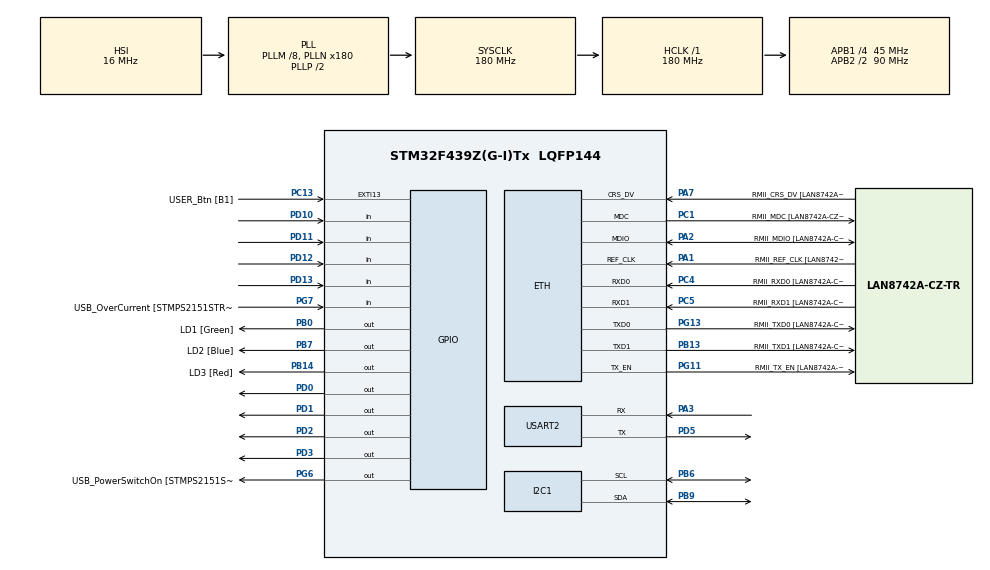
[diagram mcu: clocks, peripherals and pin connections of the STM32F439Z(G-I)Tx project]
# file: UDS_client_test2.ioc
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ETH.MACAddr=00\:80\:E1\:00\:00\:10
ETH.MediaInterface=ETH_MEDIA_INTERFACE_RMII
ETH.PhyAddress=0
ETH.RxMode=ETH_RXINTERRUPT_MODE
FREERTOS.Mutexes01=targetsMutex,Dynamic,NULL
FREERTOS.Tasks01=UdsTask,24,128,StartUdsTask,Default,NULL,Dynamic,NULL,NULL;UartTask,25,128,StartUartTask,Default,NULL,Dynamic,NULL,NULL;InstallTask,25,128,StartInstallTask,Default,NULL,Dynamic,NULL,NULL;InitTask,26,128,StartInitTask,Default,NULL,Dynamic,NULL,NULL;RefreshWDGTask,25,128,StartRefreshWDGTask,Default,NULL,Dynamic,NULL,NULL
FREERTOS.configUSE_NEWLIB_REENTRANT=1
HASH.KeySize=17
HASH.SecureHashAlgorithmType=HMAC SHA256
HASH.pKey=00 01 02 03 04 05 06 07 08 09 0A 0B 0C 0D 0E 0F 10
HASH.pKeyInput=000102030405060708090A0B0C0D0E0F10
IWDG.Prescaler=IWDG_PRESCALER_64
IWDG.Reload=3000
LWIP.GATEWAY_ADDRESS=169.254.084.058
LWIP.IP_ADDRESS=169.254.084.058
LWIP.LWIP_DHCP=0
LWIP.MEMP_NUM_RAW_PCB=4
LWIP.MEMP_NUM_TCP_PCB_LISTEN=8
LWIP.MEMP_NUM_TCP_SEG=100
LWIP.MEM_SIZE=21*1024
LWIP.NETMASK_ADDRESS=255.255.000.000
LWIP.PBUF_POOL_BUFSIZE=1500
LWIP.PBUF_POOL_SIZE=20
LWIP.TCP_MSS=1426
LWIP.TCP_SND_BUF=11408
LWIP.TCP_SND_QUEUELEN=100
LWIP.TCP_WND=11408
LWIP.Version=v2.1.2_Cube
Mcu.Family=STM32F4
Mcu.Name=STM32F439Z(G-I)Tx
Mcu.Package=LQFP144
NVIC.ETH_IRQn=true\:5\:0\:false\:false\:true\:true\:false\:true
NVIC.PriorityGroup=NVIC_PRIORITYGROUP_4
NVIC.TIM1_UP_TIM10_IRQn=true\:15\:0\:false\:false\:true\:false\:false\:true
NVIC.TimeBase=TIM1_UP_TIM10_IRQn
NVIC.TimeBaseIP=TIM1
NVIC.USART2_IRQn=true\:5\:0\:false\:false\:true\:true\:true\:true
PA1.GPIO_Label=RMII_REF_CLK [LAN8742A-CZ-TR_REFCLK0]
PA1.Mode=RMII
PA1.Signal=ETH_REF_CLK
PA10.GPIO_Label=USB_ID
PA10.Signal=USB_OTG_FS_ID
PA11.GPIO_Label=USB_DM
PA11.Signal=USB_OTG_FS_DM
PA12.GPIO_Label=USB_DP
PA12.Signal=USB_OTG_FS_DP
PA13.GPIO_Label=TMS
PA13.Signal=SYS_JTMS-SWDIO
PA14.GPIO_Label=TCK
PA14.Signal=SYS_JTCK-SWCLK
PA2.GPIO_Label=RMII_MDIO [LAN8742A-CZ-TR_MDIO]
PA2.Mode=RMII
PA2.Signal=ETH_MDIO
PA3.Mode=Asynchronous
PA3.Signal=USART2_RX
PA7.GPIO_Label=RMII_CRS_DV [LAN8742A-CZ-TR_CRS_DV]
PA7.Mode=RMII
PA7.Signal=ETH_CRS_DV
PA8.GPIO_Label=USB_SOF [TP1]
PA8.Signal=USB_OTG_FS_SOF
PA9.GPIO_Label=USB_VBUS
PA9.Signal=USB_OTG_FS_VBUS
PB0.GPIO_Label=LD1 [Green]
PB0.Signal=GPIO_Output
PB13.GPIO_Label=RMII_TXD1 [LAN8742A-CZ-TR_TXD1]
PB13.Mode=RMII
PB13.Signal=ETH_TXD1
PB14.GPIO_Label=LD3 [Red]
PB14.Signal=GPIO_Output
PB6.Mode=I2C
PB6.Signal=I2C1_SCL
PB7.GPIO_Label=LD2 [Blue]
PB7.Signal=GPIO_Output
PB9.Mode=I2C
PB9.Signal=I2C1_SDA
PC1.GPIO_Label=RMII_MDC [LAN8742A-CZ-TR_MDC]
PC1.Mode=RMII
PC1.Signal=ETH_MDC
PC13.GPIO_Label=USER_Btn [B1]
PC13.Signal=GPXTI13
PC14/OSC32_IN.Signal=RCC_OSC32_IN
PC15/OSC32_OUT.Signal=RCC_OSC32_OUT
PC4.GPIO_Label=RMII_RXD0 [LAN8742A-CZ-TR_RXD0]
PC4.Mode=RMII
PC4.Signal=ETH_RXD0
PC5.GPIO_Label=RMII_RXD1 [LAN8742A-CZ-TR_RXD1]
PC5.Mode=RMII
PC5.Signal=ETH_RXD1
PD0.Signal=GPIO_Output
PD1.Signal=GPIO_Output
PD10.GPIO_PuPd=GPIO_PULLDOWN
PD10.Signal=GPIO_Input
PD11.GPIO_PuPd=GPIO_PULLDOWN
PD11.Signal=GPIO_Input
PD12.GPIO_PuPd=GPIO_PULLDOWN
PD12.Signal=GPIO_Input
PD13.GPIO_PuPd=GPIO_PULLDOWN
PD13.Signal=GPIO_Input
PD2.Signal=GPIO_Output
PD3.Signal=GPIO_Output
PD5.Mode=Asynchronous
PD5.Signal=USART2_TX
PD8.GPIO_Label=STLK_RX [STM32F103CBT6_PA3]
PD8.Signal=USART3_TX
PD9.GPIO_Label=STLK_TX [STM32F103CBT6_PA2]
PD9.Signal=USART3_RX
PG11.GPIO_Label=RMII_TX_EN [LAN8742A-CZ-TR_TXEN]
PG11.Mode=RMII
PG11.Signal=ETH_TX_EN
PG13.GPIO_Label=RMII_TXD0 [LAN8742A-CZ-TR_TXD0]
PG13.Mode=RMII
PG13.Signal=ETH_TXD0
PG6.GPIO_Label=USB_PowerSwitchOn [STMPS2151STR_EN]
PG6.Signal=GPIO_Output
PG7.GPIO_Label=USB_OverCurrent [STMPS2151STR_FAULT]
PG7.Signal=GPIO_Input
PH0/OSC_IN.GPIO_Label=MCO [STM32F103CBT6_PA8]
PH0/OSC_IN.Mode=HSE-External-Oscillator
PH0/OSC_IN.Signal=RCC_OSC_IN
PH1/OSC_OUT.Mode=HSE-External-Oscillator
PH1/OSC_OUT.Signal=RCC_OSC_OUT
ProjectManager.HeapSize=0x200
ProjectManager.StackSize=0x400
ProjectManager.TargetToolchain=STM32CubeIDE
RCC.48MHZClocksFreq_Value=90000000
RCC.AHBFreq_Value=180000000
RCC.APB1CLKDivider=RCC_HCLK_DIV4
RCC.APB1Freq_Value=45000000
RCC.APB1TimFreq_Value=90000000
RCC.APB2CLKDivider=RCC_HCLK_DIV2
RCC.APB2Freq_Value=90000000
RCC.APB2TimFreq_Value=180000000
RCC.CortexFreq_Value=180000000
RCC.HCLKFreq_Value=180000000
RCC.HSE_VALUE=8000000
RCC.HSI_VALUE=16000000
RCC.LSE_VALUE=32768
RCC.PLLM=8
RCC.PLLMUL=RCC_PLL_MUL9
RCC.PLLN=180
RCC.PRESCALERUSB=RCC_USBCLKSOURCE_PLL_DIV1_5
RCC.SYSCLKFreq_VALUE=180000000
RCC.SYSCLKSource=RCC_SYSCLKSOURCE_PLLCLK
RCC.SYSCLKSourceVirtual=RCC_SYSCLKSOURCE_PLLCLK
RCC.USBFreq_Value=48000000
RCC.VCOOutputFreq_Value=360000000
USART2.VirtualMode=VM_ASYNC
VP_FREERTOS_VS_CMSIS_V2.Mode=CMSIS_V2
VP_HASH_VS_HASH.Mode=HASH_Activate
VP_IWDG_VS_IWDG.Mode=IWDG_Activate
VP_LWIP_VS_Enabled.Mode=Enabled
VP_RTC_VS_RTC_Activate.Mode=RTC_Enabled
VP_SYS_VS_tim1.Mode=TIM1
board=NUCLEO-F439ZI

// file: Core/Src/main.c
/* USER CODE BEGIN Header */
/**
  ******************************************************************************
  * @file           : main.c
  * @brief          : Main program body
  ******************************************************************************
  * @attention
  *
  * <h2><center>&copy; Copyright (c) 2023 STMicroelectronics.
  * All rights reserved.</center></h2>
  *
  * This software component is licensed by ST under BSD 3-Clause license,
  * the "License"; You may not use this file except in compliance with the
  * License. You may obtain a copy of the License at:
  *                        opensource.org/licenses/BSD-3-Clause
  *
  ******************************************************************************
  */
/* USER CODE END Header */
#include "main.h"
#include "cmsis_os.h"
#include "hash.h"
#include "i2c.h"
#include "iwdg.h"
#include "lwip.h"
#include "rtc.h"
#include "usart.h"
#include "gpio.h"

/* USER CODE BEGIN Includes */
#include "lcd.h"
#include "KEYPAD.h"
#include "flash_memory.h"
/* USER CODE END Includes */

/* USER CODE BEGIN PV */
extern uint8_t current_version_number[3];
/* USER CODE END PV */

void SystemClock_Config(void);
void MX_FREERTOS_Init(void);

/* USER CODE BEGIN 0 */
/*void HAL_UART_RxCpltCallback(UART_HandleTypeDef *huart){
	sys_sem_signal(&uartSem);
}*/
/* USER CODE END 0 */

int main(void)
{
  /* USER CODE BEGIN 1 */
  __enable_irq();
  /* USER CODE END 1 */

  /* MCU Configuration--------------------------------------------------------*/

  /* Reset of all peripherals, Initializes the Flash interface and the Systick. */
  HAL_Init();

  /* Configure the system clock */
  SystemClock_Config();

  /* Initialize all configured peripherals */
  MX_GPIO_Init();
  MX_HASH_Init();
  MX_USART2_UART_Init();
  MX_I2C1_Init();
  MX_IWDG_Init();
  MX_RTC_Init();
  /* USER CODE BEGIN 2 */
  /* init code for LWIP */
  MX_LWIP_Init();
  /* refresh watchdog */
  HAL_IWDG_Refresh(&hiwdg);
  /* get current version number from metadata flashed in the memory*/
  get_version_number(current_version_number);
  /* init lcd and keypad */
  lcd_init();
  lcd_backlight(1);
  H_KeyPad_void_KeyPadInit();
  lcd_write_string_up("Welcome Sir");
  /* USER CODE END 2 */

  /* Init scheduler */
  osKernelInitialize();  /* Call init function for freertos objects (in freertos.c) */
  MX_FREERTOS_Init();
  /* Start scheduler */
  osKernelStart();

  /* We should never get here as control is now taken by the scheduler */
  /* Infinite loop */
  while (1)
  {

  }
}

void SystemClock_Config(void)
{
  RCC_OscInitTypeDef RCC_OscInitStruct = {0};
  RCC_ClkInitTypeDef RCC_ClkInitStruct = {0};

  /** Configure the main internal regulator output voltage
  */
  __HAL_RCC_PWR_CLK_ENABLE();
  __HAL_PWR_VOLTAGESCALING_CONFIG(PWR_REGULATOR_VOLTAGE_SCALE1);
  /** Initializes the RCC Oscillators according to the specified parameters
  * in the RCC_OscInitTypeDef structure.
  */
  RCC_OscInitStruct.OscillatorType = RCC_OSCILLATORTYPE_HSI|RCC_OSCILLATORTYPE_LSI;
  RCC_OscInitStruct.HSIState = RCC_HSI_ON;
  RCC_OscInitStruct.HSICalibrationValue = RCC_HSICALIBRATION_DEFAULT;
  RCC_OscInitStruct.LSIState = RCC_LSI_ON;
  RCC_OscInitStruct.PLL.PLLState = RCC_PLL_ON;
  RCC_OscInitStruct.PLL.PLLSource = RCC_PLLSOURCE_HSI;
  RCC_OscInitStruct.PLL.PLLM = 8;
  RCC_OscInitStruct.PLL.PLLN = 180;
  RCC_OscInitStruct.PLL.PLLP = RCC_PLLP_DIV2;
  RCC_OscInitStruct.PLL.PLLQ = 4;
  if (HAL_RCC_OscConfig(&RCC_OscInitStruct) != HAL_OK)
  {
    Error_Handler();
  }
  /** Activate the Over-Drive mode
  */
  if (HAL_PWREx_EnableOverDrive() != HAL_OK)
  {
    Error_Handler();
  }
  /** Initializes the CPU, AHB and APB buses clocks
  */
  RCC_ClkInitStruct.ClockType = RCC_CLOCKTYPE_HCLK|RCC_CLOCKTYPE_SYSCLK
                              |RCC_CLOCKTYPE_PCLK1|RCC_CLOCKTYPE_PCLK2;
  RCC_ClkInitStruct.SYSCLKSource = RCC_SYSCLKSOURCE_PLLCLK;
  RCC_ClkInitStruct.AHBCLKDivider = RCC_SYSCLK_DIV1;
  RCC_ClkInitStruct.APB1CLKDivider = RCC_HCLK_DIV4;
  RCC_ClkInitStruct.APB2CLKDivider = RCC_HCLK_DIV2;

  if (HAL_RCC_ClockConfig(&RCC_ClkInitStruct, FLASH_LATENCY_5) != HAL_OK)
  {
    Error_Handler();
  }
}

void HAL_TIM_PeriodElapsedCallback(TIM_HandleTypeDef *htim)
{
  if (htim->Instance == TIM1) {
    HAL_IncTick();
  }
}

void Error_Handler(void)
{
}

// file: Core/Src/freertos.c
/* USER CODE BEGIN Header */
/**
 ******************************************************************************
 * File Name          : freertos.c
 * Description        : Code for freertos applications
 ******************************************************************************
 * @attention
 *
 * Copyright (c) 2023 STMicroelectronics.
 * All rights reserved.
 *
 * This software is licensed under terms that can be found in the LICENSE file
 * in the root directory of this software component.
 * If no LICENSE file comes with this software, it is provided AS-IS.
 *
 ******************************************************************************
 */
/* USER CODE END Header */

#include "FreeRTOS.h"
#include "task.h"
#include "main.h"
#include "cmsis_os.h"

/* USER CODE BEGIN Includes */
#include "NodeMCU_COM.h"
#include "usart.h"
#include "uds_client.h"
#include "bootloader.h"
#include "rtc.h"
#include "iwdg.h"
/* USER CODE END Includes */

/* USER CODE BEGIN Variables */
uint8_t installationReadyFlag = 0;
/* USER CODE END Variables */
/* Definitions for UdsTask */
osThreadId_t UdsTaskHandle;
const osThreadAttr_t UdsTask_attributes = {
  .name = "UdsTask",
  .stack_size = 128 * 4,
  .priority = (osPriority_t) osPriorityNormal,
};
/* Definitions for UartTask */
osThreadId_t UartTaskHandle;
const osThreadAttr_t UartTask_attributes = {
  .name = "UartTask",
  .stack_size = 128 * 4,
  .priority = (osPriority_t) osPriorityNormal1,
};
/* Definitions for InstallTask */
osThreadId_t InstallTaskHandle;
const osThreadAttr_t InstallTask_attributes = {
  .name = "InstallTask",
  .stack_size = 128 * 4,
  .priority = (osPriority_t) osPriorityNormal1,
};
/* Definitions for InitTask */
osThreadId_t InitTaskHandle;
const osThreadAttr_t InitTask_attributes = {
  .name = "InitTask",
  .stack_size = 128 * 4,
  .priority = (osPriority_t) osPriorityNormal2,
};
/* Definitions for RefreshWDGTask */
osThreadId_t RefreshWDGTaskHandle;
const osThreadAttr_t RefreshWDGTask_attributes = {
  .name = "RefreshWDGTask",
  .stack_size = 128 * 4,
  .priority = (osPriority_t) osPriorityNormal1,
};
/* Definitions for targetsMutex */
osMutexId_t targetsMutexHandle;
const osMutexAttr_t targetsMutex_attributes = {
  .name = "targetsMutex"
};

void StartUdsTask(void *argument);
void StartUartTask(void *argument);
void StartInstallTask(void *argument);
void StartInitTask(void *argument);
void StartRefreshWDGTask(void *argument);

extern void MX_LWIP_Init(void);
void MX_FREERTOS_Init(void); /* (MISRA C 2004 rule 8.1) */

void MX_FREERTOS_Init(void) {
  /* Create the mutex(es) */
  /* creation of targetsMutex */
  targetsMutexHandle = osMutexNew(&targetsMutex_attributes);

  /* Create the thread(s) */
  /* creation of UdsTask */
  UdsTaskHandle = osThreadNew(StartUdsTask, NULL, &UdsTask_attributes);

  /* creation of UartTask */
  UartTaskHandle = osThreadNew(StartUartTask, NULL, &UartTask_attributes);

  /* creation of InstallTask */
  InstallTaskHandle = osThreadNew(StartInstallTask, NULL, &InstallTask_attributes);

  /* creation of InitTask */
  InitTaskHandle = osThreadNew(StartInitTask, NULL, &InitTask_attributes);

  /* creation of RefreshWDGTask */
  RefreshWDGTaskHandle = osThreadNew(StartRefreshWDGTask, NULL, &RefreshWDGTask_attributes);

}

void StartUdsTask(void *argument)
{
  /* init code for LWIP */
  //MX_LWIP_Init();
  /* USER CODE BEGIN StartUdsTask */
	UDS_init(target_update);
	// Terminate task
	osThreadTerminate(UdsTaskHandle);

	/* Infinite loop */
	for(;;)
	{
		osDelay(1);
	}
  /* USER CODE END StartUdsTask */
}

void StartUartTask(void *argument)
{
  /* USER CODE BEGIN StartUartTask */
	HAL_Delay(LCD_PRINT_DELAY);
	lcd_clear();
	lcd_write_string_up("Version Number:");
	lcd_display_version(current_version_number);

	uint8_t versionNumberFrame[4] = {VERSION_NUMBER, current_version_number[0], current_version_number[1], current_version_number[2]};
	HAL_UART_Transmit(&huart2, (uint8_t *)versionNumberFrame, sizeof(versionNumberFrame), HAL_MAX_DELAY);
	while(HAL_UART_Receive(&huart2, (uint8_t *)data_received, 6, HAL_MAX_DELAY) != HAL_OK);

	/* Infinite loop */
	for(;;)
	{
		if(!downloadFinishedFlag){
			UART_stateHandler();
		}
		else{
			HAL_Delay(LCD_PRINT_DELAY);
			lcd_clear();
			lcd_write_string_up("Pending Install");
		}
		osDelay(1);
	}
  /* USER CODE END StartUartTask */
}

void StartInstallTask(void *argument)
{
  /* USER CODE BEGIN StartInstallTask */
	/* Infinite loop */
	for(;;)
	{
		if (downloadFinishedFlag && HAL_GPIO_ReadPin(USER_Btn_GPIO_Port, USER_Btn_Pin) == GPIO_PIN_SET) {
			installationReadyFlag = 1;

			osThreadTerminate(UartTaskHandle);

			//ask user to install
			lcd_clear();
			lcd_write_string_up("Install Now?");
			lcd_write_string_down("  A:Yes   B:No  ");

			char pressedButton;
			while(1){
				pressedButton = Keys_Detect();
				if(pressedButton == 'A'){
					lcd_clear();
					lcd_write_string_up("Installing ...");
					break;
				}else if(pressedButton == 'B'){
					lcd_clear();
					break;
				}else{
					// Do nothing
				}
			}

			if(pressedButton == 'B'){
				continue;				// wait for next parking mode to install
			}

			downloadFinishedFlag = 0; // must be handled in case of installation failure

			if (target_update[1]) {
				osThreadResume(target1ThreadID);
				osThreadSuspend(InstallTaskHandle);

				//check that new version number is correct
				if(memcmp(target1_version_number, new_version_number, 3) == 0){
					HAL_GPIO_WritePin(LD3_GPIO_Port, LD3_Pin, GPIO_PIN_SET);
					HAL_Delay(500);
					HAL_GPIO_WritePin(LD3_GPIO_Port, LD3_Pin, GPIO_PIN_RESET);
				}else{
					// handle negative scenario
				}

				target1_version_received = 0;////////
				target1InstalledFlag = 0;///////////

				osThreadTerminate(target1ThreadID);
			}

			if(target_update[2]){
				osThreadResume(target2ThreadID);
				osThreadSuspend(InstallTaskHandle);

				//check that new version number is correct
				if(memcmp(target2_version_number, new_version_number, 3) == 0){
					HAL_GPIO_WritePin(LD1_GPIO_Port, LD1_Pin, GPIO_PIN_SET);
					HAL_Delay(500);
					HAL_GPIO_WritePin(LD1_GPIO_Port, LD1_Pin, GPIO_PIN_RESET);
				}else{
					// handle negative scenario
				}

				target2_version_received = 0;////////
				target2InstalledFlag = 0;///////////

				osThreadTerminate(target2ThreadID);
			}
			installationReadyFlag = 0; /////////

			if(target_update[0]){
				// reboot
				HAL_GPIO_WritePin(LD1_GPIO_Port, LD1_Pin, GPIO_PIN_SET);
				bootloader_switch_to_inactive_bank();
				bootloader_reboot();
			}else{
				current_version_number[0] = new_version_number[0];
				current_version_number[1] = new_version_number[1];
				current_version_number[2] = new_version_number[2];

				UdsTaskHandle = osThreadNew(StartUdsTask, NULL, &UdsTask_attributes);
				UartTaskHandle = osThreadNew(StartUartTask, NULL, &UartTask_attributes);
			}
		}else{
			// Do nothing
		}
		osDelay(1);
	}
  /* USER CODE END StartInstallTask */
}

void StartInitTask(void *argument)
{
  /* USER CODE BEGIN StartInitTask */
	//zero attempt counter
	write_backup_reg(0x00 , 0x00);

	//refresh watchdog
	HAL_IWDG_Refresh(&hiwdg);

	//if you want to revoke root 1
	//	write_backup_reg(0x04, 0x01);
	//if you want to revoke root 2
	//	write_backup_reg(0x05, 0x01);

	//if you want update version
	write_backup_reg(0x1,0x5);
	write_backup_reg(0x2,0x5);
	write_backup_reg(0x3,0x5);

	osThreadTerminate(InitTaskHandle);

	/* Infinite loop */
	for(;;)
	{
		osDelay(1);
	}
  /* USER CODE END StartInitTask */
}

void StartRefreshWDGTask(void *argument)
{
  /* USER CODE BEGIN StartRefreshWDGTask */
	/* Infinite loop */
	for(;;)
	{
		//refresh watchdog
		HAL_IWDG_Refresh(&hiwdg);
		osDelay(1000);
	}
  /* USER CODE END StartRefreshWDGTask */
}
